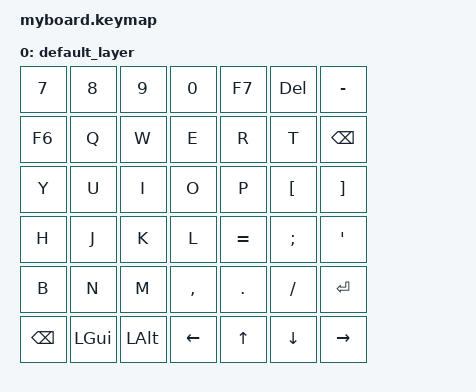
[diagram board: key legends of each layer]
/ {
    keymap {
        compatible = "zmk,keymap";

        default_layer {
            bindings = <
                &kp N7 &kp N8 &kp N9 &kp N0 &kp F7 &kp DEL &kp MINUS
                &kp F6 &kp Q  &kp W  &kp E  &kp R  &kp T   &kp BSPC
                &kp Y  &kp U  &kp I  &kp O  &kp P  &kp LBKT &kp RBKT
                &kp H  &kp J  &kp K  &kp L  &kp EQUAL &kp SEMI &kp SQT
                &kp B  &kp N  &kp M  &kp COMMA &kp DOT &kp SLASH &kp ENTER
                &kp BSPC &kp LGUI &kp LALT &kp LEFT &kp UP &kp DOWN &kp RIGHT
            >;
        };
    };
};
